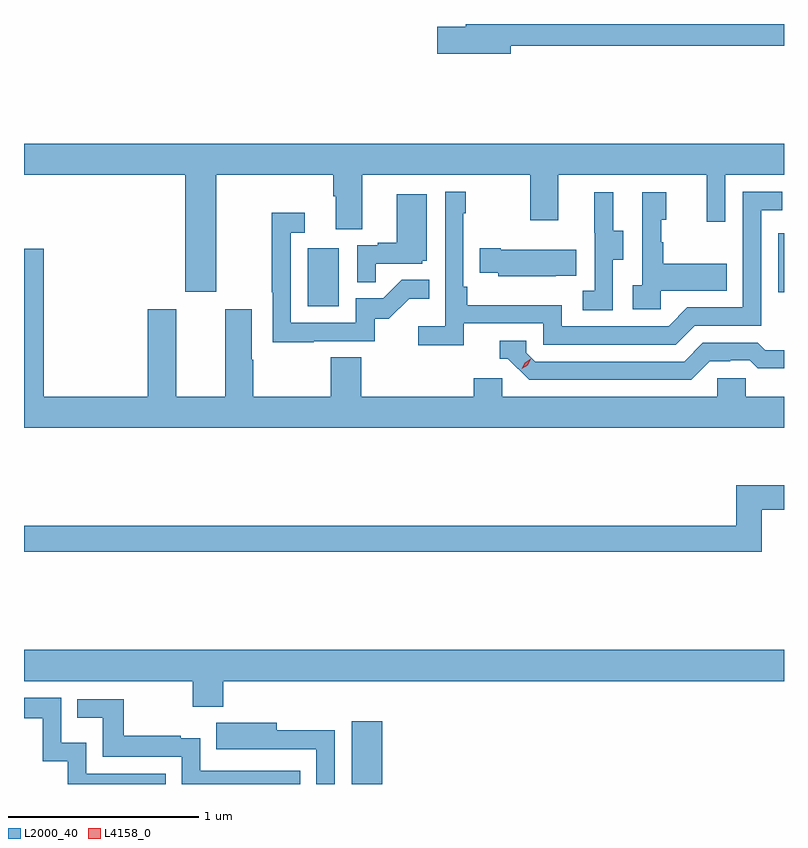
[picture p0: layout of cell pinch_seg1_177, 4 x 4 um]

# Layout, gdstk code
import gdstk
lib = gdstk.Library(unit=1e-6, precision=1e-09)
def R(c, l, rs):  # rectangles x0, y0, x1, y1
    for r in rs: c.add(gdstk.rectangle(r[:2], r[2:], *l))
def P(c, l, *ps):  # polygons
    for p in ps: c.add(gdstk.Polygon(p, *l))
L2000_40 = (2000, 40)
L4158_0 = (4158, 0)

pinch_seg1_177 = lib.new_cell('pinch_seg1_177')
R(pinch_seg1_177, L2000_40, [(1090.625,560.514,1090.786,560.845), (1090.394,563.028,1090.558,563.335), (1092.87,563.103,1092.901,563.412)])
P(pinch_seg1_177, L2000_40, [(1091.464,564.4),(1092.901,564.4),(1092.901,564.514),(1091.225,564.514),(1091.225,564.5),(1091.076,564.5),(1091.076,564.358),(1091.464,564.358)],
  [(1089.913,563.72),(1090.529,563.72),(1090.529,563.608),(1090.541,563.608),(1090.541,563.434),(1090.681,563.434),(1090.681,563.72),(1091.566,563.72),(1091.566,563.481),(1091.713,563.481),(1091.713,563.72),(1092.494,563.72),(1092.494,563.472),(1092.591,563.472),(1092.591,563.72),(1092.901,563.72),(1092.901,563.884),(1088.901,563.884),(1088.901,563.72),(1089.749,563.72),(1089.749,563.106),(1089.913,563.106)],
  [(1091.216,562.938),(1091.634,562.938),(1091.634,562.827),(1092.331,562.827),(1092.43,562.926),(1092.78,562.926),(1092.78,563.535),(1092.893,563.535),(1092.893,563.631),(1092.684,563.631),(1092.684,563.022),(1092.393,563.022),(1092.294,562.923),(1091.73,562.923),(1091.73,563.035),(1091.234,563.035),(1091.234,563.131),(1091.214,563.131),(1091.214,563.519),(1091.227,563.519),(1091.227,563.632),(1091.118,563.632),(1091.118,562.924),(1090.977,562.924),(1090.977,562.822),(1091.216,562.822)],
  [(1092.252,563.111),(1092.599,563.111),(1092.599,563.251),(1092.265,563.251),(1092.265,563.366),(1092.255,563.366),(1092.255,563.484),(1092.28,563.484),(1092.28,563.629),(1092.156,563.629),(1092.156,563.138),(1092.105,563.138),(1092.105,563.013),(1092.252,563.013)],
  [(1092,563.272),(1092.055,563.272),(1092.055,563.427),(1092.001,563.427),(1092.001,563.629),(1091.903,563.629),(1091.903,563.415),(1091.904,563.415),(1091.904,563.111),(1091.841,563.111),(1091.841,563.008),(1092,563.008)],
  [(1090.751,563.253),(1090.998,563.253),(1090.998,563.268),(1091.02,563.268),(1091.02,563.617),(1090.862,563.617),(1090.862,563.362),(1090.763,563.362),(1090.763,563.349),(1090.656,563.349),(1090.656,563.155),(1090.751,563.155)],
  [(1090.427,562.845),(1090.746,562.845),(1090.746,562.962),(1090.822,562.962),(1090.929,563.069),(1091.033,563.069),(1091.033,563.168),(1090.889,563.168),(1090.791,563.07),(1090.647,563.07),(1090.647,562.941),(1090.305,562.941),(1090.305,563.415),(1090.378,563.415),(1090.378,563.521),(1090.204,563.521),(1090.204,563.101),(1090.209,563.101),(1090.209,562.84),(1090.427,562.84)],
  [(1091.699,563.189),(1091.807,563.189),(1091.807,563.326),(1091.41,563.326),(1091.41,563.334),(1091.299,563.334),(1091.299,563.204),(1091.397,563.204),(1091.397,563.186),(1091.699,563.186)],
  [(1092.901,562.552),(1092.699,562.552),(1092.699,562.65),(1092.549,562.65),(1092.549,562.552),(1091.418,562.552),(1091.418,562.65),(1091.267,562.65),(1091.267,562.552),(1090.676,562.552),(1090.676,562.76),(1090.516,562.76),(1090.516,562.552),(1090.107,562.552),(1090.107,562.748),(1090.099,562.748),(1090.099,563.014),(1089.959,563.014),(1089.959,562.552),(1089.703,562.552),(1089.703,563.014),(1089.551,563.014),(1089.551,562.552),(1089.005,562.552),(1089.005,563.332),(1088.901,563.332),(1088.901,562.388),(1092.901,562.388)],
  [(1092.511,562.74),(1092.618,562.74),(1092.618,562.743),(1092.721,562.743),(1092.763,562.701),(1092.901,562.701),(1092.901,562.797),(1092.802,562.797),(1092.763,562.836),(1092.474,562.836),(1092.375,562.737),(1091.592,562.737),(1091.544,562.785),(1091.544,562.848),(1091.405,562.848),(1091.405,562.752),(1091.448,562.752),(1091.559,562.641),(1092.412,562.641)],
  [(1092.785,561.958),(1092.901,561.958),(1092.901,562.087),(1092.649,562.087),(1092.649,561.872),(1088.901,561.872),(1088.901,561.736),(1092.785,561.736)],
  [(1089.95,561.056),(1092.901,561.056),(1092.901,561.22),(1088.901,561.22),(1088.901,561.056),(1089.79,561.056),(1089.79,560.921),(1089.95,560.921)],
  [(1089.647,560.568),(1089.228,560.568),(1089.228,560.731),(1089.096,560.731),(1089.096,560.967),(1088.901,560.967),(1088.901,560.871),(1088.903,560.871),(1088.903,560.859),(1088.999,560.859),(1088.999,560.633),(1089.132,560.633),(1089.132,560.514),(1089.647,560.514)],
  [(1090.354,560.583),(1089.828,560.583),(1089.828,560.755),(1089.725,560.755),(1089.725,560.767),(1089.427,560.767),(1089.427,560.961),(1089.181,560.961),(1089.181,560.864),(1089.316,560.864),(1089.316,560.658),(1089.732,560.658),(1089.732,560.514),(1090.354,560.514)],
  [(1090.536,560.798),(1090.231,560.798),(1090.231,560.836),(1089.913,560.836),(1089.913,560.696),(1090.127,560.696),(1090.127,560.697),(1090.44,560.697),(1090.44,560.514),(1090.536,560.514)])
P(pinch_seg1_177, L4158_0, [(1091.52,562.7),(1091.52,562.7),(1091.536,562.732),(1091.567,562.752),(1091.567,562.752),(1091.567,562.751),(1091.551,562.719),(1091.52,562.7)])

lib.write_gds('pinch_seg1_177.gds')
